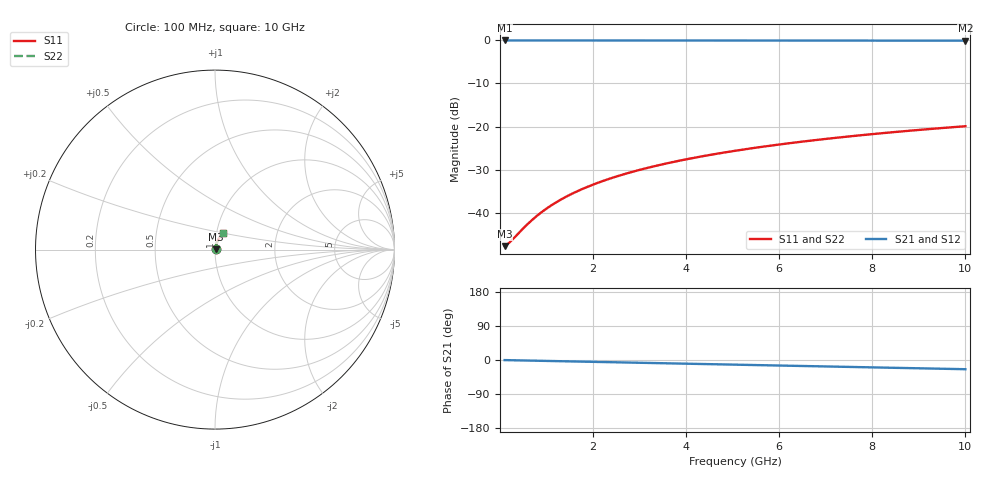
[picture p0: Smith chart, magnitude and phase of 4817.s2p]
# Hz S RI R 50.00
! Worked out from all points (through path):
!   100 points, 100 MHz to 10 GHz, reference 50 ohm
!   highest |S21| = -0.03 dB at 100 MHz (marker M1); lowest = -0.1 dB at 10 GHz (marker M2)
!   group delay of S21, straight-line fit = 6.75 ps
!   lowest |S11| = -47.7 dB at 100 MHz (marker M3), VSWR 1.01, Z = 50.4 + j0.103 ohm
!   |S11| at or under -10 dB: start of sweep to end of sweep
!   |S22| runs from -47.7 to -19.9 dB; largest |S21 - S12| = 0
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1e8  0.00397 0.00103  0.996 -0.00423  0.996 -0.00423  0.00397 0.00103
2e8  0.00401 0.00205  0.996 -0.00846  0.996 -0.00846  0.00401 0.00205
6e8  0.00421 0.00615  0.9956 -0.0254  0.9956 -0.0254  0.00421 0.00615
7e8  0.00427 0.00717  0.9955 -0.0296  0.9955 -0.0296  0.00427 0.00717
9e8  0.00443 0.00921  0.9951 -0.038  0.9951 -0.038  0.00443 0.00921
1.1e9  0.00462 0.0113  0.9947 -0.0465  0.9947 -0.0465  0.00462 0.0113
1.3e9  0.00484 0.0133  0.9943 -0.0549  0.9943 -0.0549  0.00484 0.0133
1.5e9  0.00509 0.0153  0.9937 -0.0634  0.9937 -0.0634  0.00509 0.0153
1.8e9  0.00554 0.0184  0.9927 -0.076  0.9927 -0.076  0.00554 0.0184
2.1e9  0.00606 0.0214  0.9916 -0.0887  0.9916 -0.0887  0.00606 0.0214
2.5e9  0.00687 0.0254  0.9898 -0.1055  0.9898 -0.1055  0.00687 0.0254
2.9e9  0.00782 0.0294  0.9878 -0.1223  0.9878 -0.1223  0.00782 0.0294
3.4e9  0.0092 0.0343  0.9847 -0.1432  0.9847 -0.1432  0.0092 0.0343
3.8e9  0.0104 0.0382  0.982 -0.1598  0.982 -0.1598  0.0104 0.0382
4.2e9  0.0118 0.0421  0.979 -0.1765  0.979 -0.1765  0.0118 0.0421
4.6e9  0.0133 0.0459  0.9756 -0.193  0.9756 -0.193  0.0133 0.0459
5.1e9  0.0154 0.0505  0.971 -0.2136  0.971 -0.2136  0.0154 0.0505
5.9e9  0.0191 0.0578  0.9627 -0.2464  0.9627 -0.2464  0.0191 0.0578
6.7e9  0.0233 0.0648  0.9533 -0.2787  0.9533 -0.2787  0.0233 0.0648
7.5e9  0.028 0.0715  0.9427 -0.3107  0.9427 -0.3107  0.028 0.0715
8.4e9  0.0338 0.0786  0.9295 -0.3462  0.9295 -0.3462  0.0338 0.0786
1e10  0.0453 0.0901  0.9025 -0.4077  0.9025 -0.4077  0.0453 0.0901
